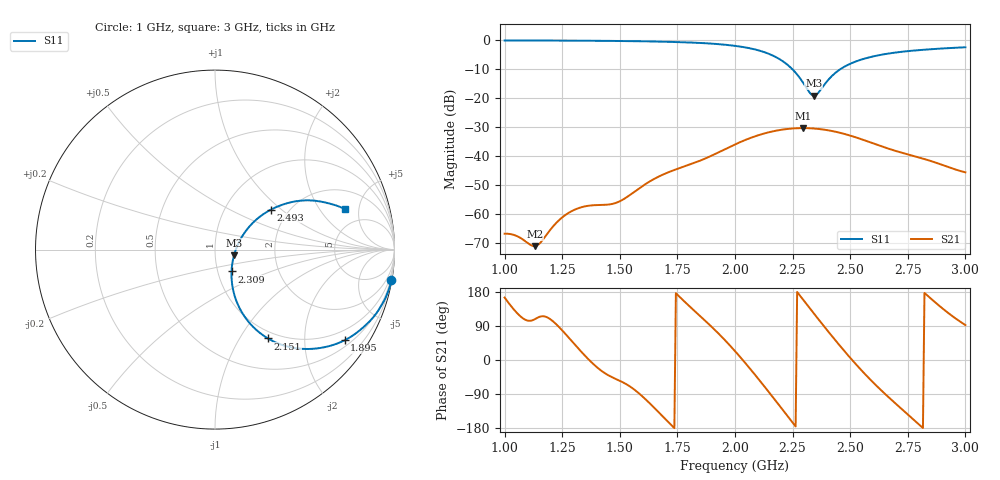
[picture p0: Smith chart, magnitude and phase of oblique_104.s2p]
! TOUCHSTONE file generated by CST MICROWAVE STUDIO
! Date and time: Tue Mar 18 00:01:48 2025
! Project name: oblique.cst
! Parameters = {Tilt=30; Fracture=1; B=12.5; D=160; F=25; Feed=2.85625; L=100; M=30; R=0.384908; S=2; Theta=180; length=57.125; wave=114.25}
! Header version: 2024
! Port assignment regex: !\s*Touchstone port\s*([0-9]+)\s*=\s*(CST MWS port|CST DES external port|CST DES block port)\s*(.+)\s* \(\"(.*)\"\)(\s*mode\s*([0-9]+))?.*
! Touchstone port assignment:
! Touchstone port 1 = CST MWS port 1 ("")
! Touchstone port 2 = CST MWS port 2 ("")
# GHz S DB R 50
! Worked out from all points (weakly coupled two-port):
!   305 points, 1 GHz to 3 GHz, reference 50 ohm
!   highest |S21| = -30.31 dB at 2.296 GHz (marker M1); lowest = -71.1 dB at 1.132 GHz (marker M2)
!   lowest |S11| = -19.1 dB at 2.342 GHz (marker M3), VSWR 1.25, Z = 61.7 - j3.92 ohm
!   |S11| at or under -10 dB: 2.249 GHz to 2.456 GHz (207 MHz wide, 8.8 % of centre)
!   S12 and S22 are empty: the file has one direction only
!   S11 on the Smith chart (normalised r, x): 1 GHz: 0, -12; 1.895 GHz: 0.67, -3.04; 2.151 GHz: 0.90, -1.33; 2.309 GHz: 1.16, -0.29; 2.493 GHz: 1.63, +0.85; 3 GHz: 3.38, +3.58
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1  -0.02 -9.8  -66.82 164.7  -200.00 0.0  -200.00 0.0
1.05263  -0.03 -10.5  -67.61 124.8  -200.00 0.0  -200.00 0.0
1.13158  -0.04 -11.7  -71.13 107.8  -200.00 0.0  -200.00 0.0
1.15132  -0.04 -12.0  -70.26 113.9  -200.00 0.0  -200.00 0.0
1.25  -0.07 -13.6  -61.19 78.1  -200.00 0.0  -200.00 0.0
1.33553  -0.10 -15.3  -57.62 20.0  -200.00 0.0  -200.00 0.0
1.48684  -0.20 -18.7  -56.06 -51.3  -200.00 0.0  -200.00 0.0
1.67105  -0.42 -24.2  -46.98 -139.4  -200.00 0.0  -200.00 0.0
1.89474  -1.09 -34.9  -39.97 89.9  -200.00 0.0  -200.00 0.0
2  -1.89 -42.9  -35.96 23.5  -200.00 0.0  -200.00 0.0
2.08553  -3.10 -51.4  -33.20 -37.9  -200.00 0.0  -200.00 0.0
2.15132  -4.79 -59.2  -31.67 -88.0  -200.00 0.0  -200.00 0.0
2.23026  -8.59 -67.0  -30.59 -149.6  -200.00 0.0  -200.00 0.0
2.29605  -14.68 -60.0  -30.31 158.8  -200.00 0.0  -200.00 0.0
2.30921  -16.31 -52.9  -30.33 148.5  -200.00 0.0  -200.00 0.0
2.33553  -18.95 -25.6  -30.42 128.0  -200.00 0.0  -200.00 0.0
2.34211  -19.13 -16.5  -30.46 123.0  -200.00 0.0  -200.00 0.0
2.36184  -18.10 8.5  -30.60 107.7  -200.00 0.0  -200.00 0.0
2.42763  -11.79 35.2  -31.42 58.0  -200.00 0.0  -200.00 0.0
2.49342  -8.32 35.5  -32.75 10.4  -200.00 0.0  -200.00 0.0
2.67105  -4.48 27.4  -37.55 -100.6  -200.00 0.0  -200.00 0.0
3  -2.38 17.1  -45.60 92.1  -200.00 0.0  -200.00 0.0
